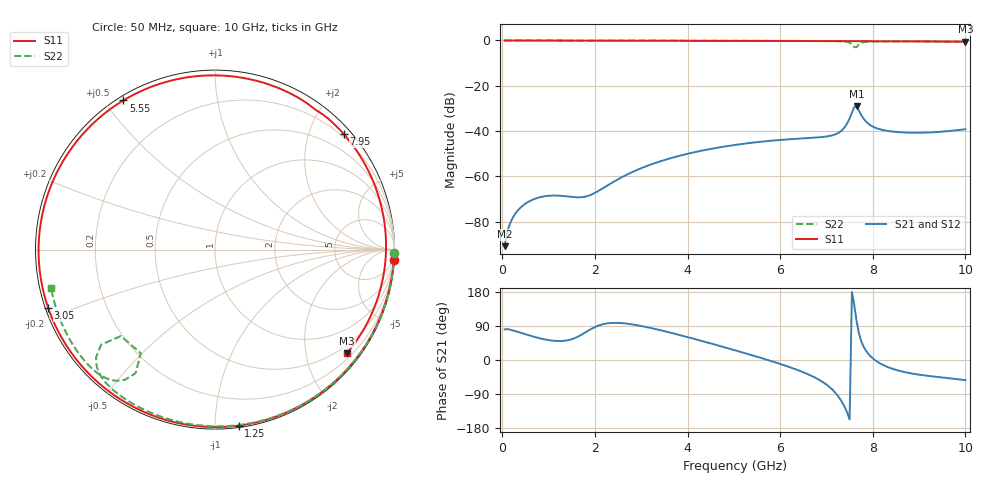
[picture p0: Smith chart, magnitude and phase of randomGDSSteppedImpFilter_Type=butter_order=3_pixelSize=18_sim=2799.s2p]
! freq	dB(S11)	phase(S11)	dB(S12)	phase(S12)
!  dB(S21)	phase(S21)	dB(S22)	phase(S22)
!S-par simulation data
#  GHz  S  DB  R 50
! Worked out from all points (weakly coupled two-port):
!   200 points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, 50 MHz to 10 GHz, reference 50 ohm
!   highest |S21| = -29.16 dB at 7.65 GHz (marker M1); lowest = -90.9 dB at 50 MHz (marker M2)
!   lowest |S11| = -0.6 dB at 10 GHz (marker M3), VSWR 29.55, Z = 15.7 - j143 ohm
!   |S11| at or under -10 dB: nowhere
!   |S22| runs from -3.0 to 0.0 dB; largest |S21 - S12| = 0
!   S11 on the Smith chart (normalised r, x): 50 MHz: 1, -33; 1.25 GHz: 0.01, -1.14; 3.05 GHz: 0.01, -0.17; 5.55 GHz: 0.02, +0.56; 7.95 GHz: 0.14, +2.61; 10 GHz: 0.31, -2.86
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0.05  -0.01 -3.5  -90.87 80.7  -90.87 80.7  -0.01 -1.0
0.2  -0.04 -14.2  -79.33 79.2  -79.33 79.2  -0.01 -3.9
0.4  -0.05 -28.4  -73.72 71.7  -73.72 71.7  -0.01 -7.8
0.65  -0.06 -45.4  -70.39 62.4  -70.39 62.4  -0.02 -12.6
1.25  -0.09 -82.3  -68.60 50.1  -68.60 50.1  -0.03 -24.1
1.75  -0.11 -108.3  -69.15 69.5  -69.15 69.5  -0.04 -33.6
2.4  -0.12 -136.6  -62.48 97.9  -62.48 97.9  -0.06 -45.6
3.05  -0.14 -160.7  -56.02 88.6  -56.02 88.6  -0.07 -57.4
3.4  -0.14 -172.5  -53.47 79.0  -53.47 79.0  -0.08 -63.6
4.2  -0.17 162.3  -49.14 53.8  -49.14 53.8  -0.11 -77.4
5.05  -0.20 136.7  -46.08 24.8  -46.08 24.8  -0.14 -91.6
5.55  -0.22 121.6  -44.81 6.8  -44.81 6.8  -0.16 -99.8
6.7  -0.27 85.2  -43.00 -43.2  -43.00 -43.2  -0.24 -118.5
7.3  -0.30 64.9  -40.27 -104.0  -40.27 -104.0  -0.39 -130.3
7.55  -0.34 56.1  -31.82 179.3  -31.82 179.3  -1.66 -140.2
7.6  -0.36 54.5  -29.43 144.9  -29.43 144.9  -2.95 -137.4
7.65  -0.35 52.9  -29.16 103.3  -29.16 103.3  -2.97 -125.6
7.75  -0.31 49.2  -32.91 49.9  -32.91 49.9  -1.07 -124.7
7.95  -0.32 41.9  -37.46 10.1  -37.46 10.1  -0.48 -131.9
8.35  -0.35 27.0  -40.06 -19.9  -40.06 -19.9  -0.40 -140.1
9.2  -0.44 -5.9  -40.67 -42.0  -40.67 -42.0  -0.47 -154.1
10  -0.59 -38.1  -39.22 -53.1  -39.22 -53.1  -0.56 -166.9
